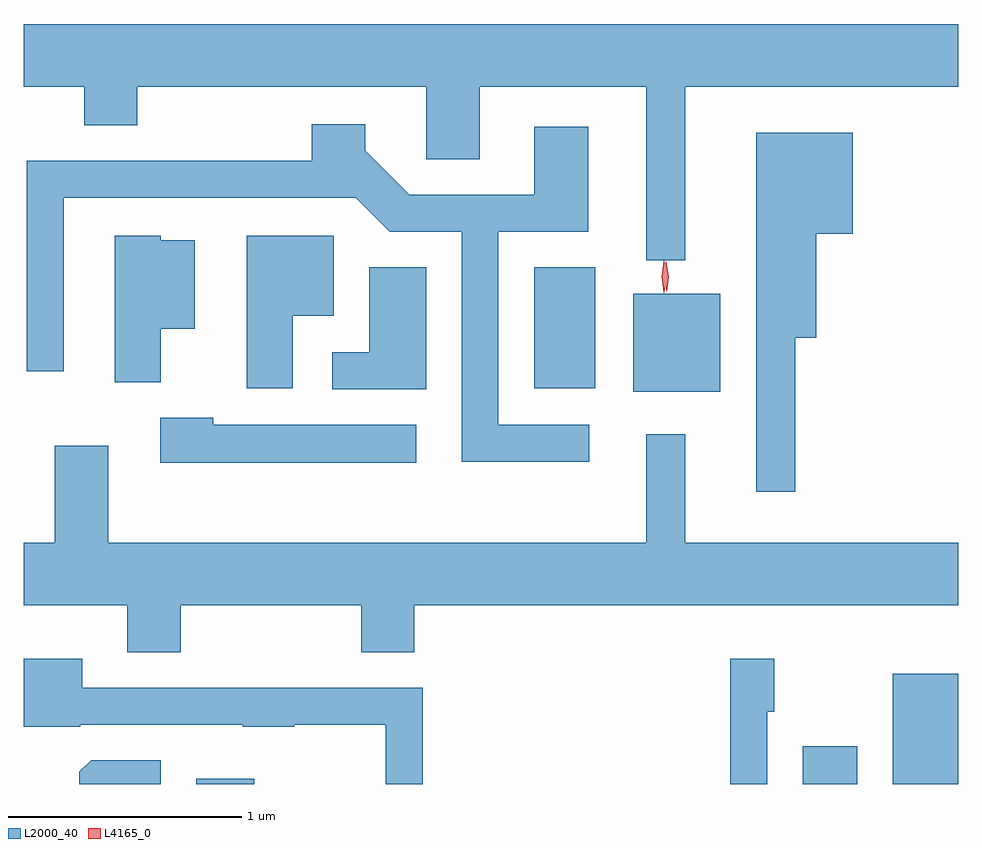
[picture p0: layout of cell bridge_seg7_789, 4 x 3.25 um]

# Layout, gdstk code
import gdstk
lib = gdstk.Library(unit=1e-6, precision=1e-09)
def R(c, l, rs):  # rectangles x0, y0, x1, y1
    for r in rs: c.add(gdstk.rectangle(r[:2], r[2:], *l))
def P(c, l, *ps):  # polygons
    for p in ps: c.add(gdstk.Polygon(p, *l))
L2000_40 = (2000, 40)
L4165_0 = (4165, 0)

bridge_seg7_789 = lib.new_cell('bridge_seg7_789')
R(bridge_seg7_789, L2000_40, [(328.496,1751.292,328.744,1751.314), (331.091,1751.292,331.324,1751.454), (331.476,1751.292,331.757,1751.764), (330.366,1752.971,330.739,1753.389), (329.941,1752.986,330.204,1753.504)])
P(bridge_seg7_789, L2000_40, [(330.589,1754.276),(331.757,1754.276),(331.757,1754.544),(327.757,1754.544),(327.757,1754.276),(328.016,1754.276),(328.016,1754.111),(328.244,1754.111),(328.244,1754.276),(329.481,1754.276),(329.481,1753.966),(329.709,1753.966),(329.709,1754.276),(330.421,1754.276),(330.421,1753.533),(330.589,1753.533)],
  [(330.178,1752.829),(329.789,1752.829),(329.789,1753.656),(330.174,1753.656),(330.174,1754.104),(329.941,1754.104),(329.941,1753.814),(329.407,1753.814),(329.219,1754.002),(329.219,1754.114),(328.991,1754.114),(328.991,1753.959),(327.771,1753.959),(327.771,1753.058),(327.929,1753.058),(327.929,1753.801),(329.179,1753.801),(329.324,1753.656),(329.631,1753.656),(329.631,1752.671),(330.178,1752.671)],
  [(331.059,1753.201),(331.149,1753.201),(331.149,1753.646),(331.304,1753.646),(331.304,1754.079),(330.891,1754.079),(330.891,1752.543),(331.059,1752.543)],
  [(328.909,1753.296),(329.084,1753.296),(329.084,1753.639),(328.711,1753.639),(328.711,1752.986),(328.909,1752.986)],
  [(328.344,1753.241),(328.489,1753.241),(328.489,1753.619),(328.344,1753.619),(328.344,1753.639),(328.146,1753.639),(328.146,1753.011),(328.344,1753.011)],
  [(329.479,1753.504),(329.236,1753.504),(329.236,1753.139),(329.078,1753.139),(329.078,1752.981),(329.479,1752.981)],
  [(329.438,1752.829),(328.569,1752.829),(328.569,1752.859),(328.341,1752.859),(328.341,1752.666),(329.438,1752.666)],
  [(328.429,1752.056),(329.201,1752.056),(329.201,1751.856),(329.429,1751.856),(329.429,1752.056),(331.757,1752.056),(331.757,1752.324),(330.589,1752.324),(330.589,1752.788),(330.421,1752.788),(330.421,1752.324),(328.119,1752.324),(328.119,1752.739),(327.891,1752.739),(327.891,1752.324),(327.757,1752.324),(327.757,1752.056),(328.201,1752.056),(328.201,1751.856),(328.429,1751.856)],
  [(329.464,1751.704),(328.009,1751.704),(328.009,1751.829),(327.757,1751.829),(327.757,1751.536),(328,1751.536),(328,1751.546),(328.695,1751.546),(328.695,1751.536),(328.915,1751.536),(328.915,1751.546),(329.306,1751.546),(329.306,1751.292),(329.464,1751.292)],
  [(330.939,1751.601),(330.969,1751.601),(330.969,1751.829),(330.781,1751.829),(330.781,1751.292),(330.939,1751.292)],
  [(328.344,1751.394),(328.047,1751.394),(327.996,1751.344),(327.996,1751.292),(328.344,1751.292)])
P(bridge_seg7_789, L4165_0, [(330.508,1753.398),(330.508,1753.399),(330.497,1753.462),(330.505,1753.526),(330.506,1753.527),(330.506,1753.526),(330.517,1753.463),(330.509,1753.399)],
  [(330.497,1753.394),(330.497,1753.394),(330.488,1753.462),(330.497,1753.53),(330.498,1753.53),(330.498,1753.53),(330.507,1753.462),(330.498,1753.394)])

lib.write_gds('bridge_seg7_789.gds')
